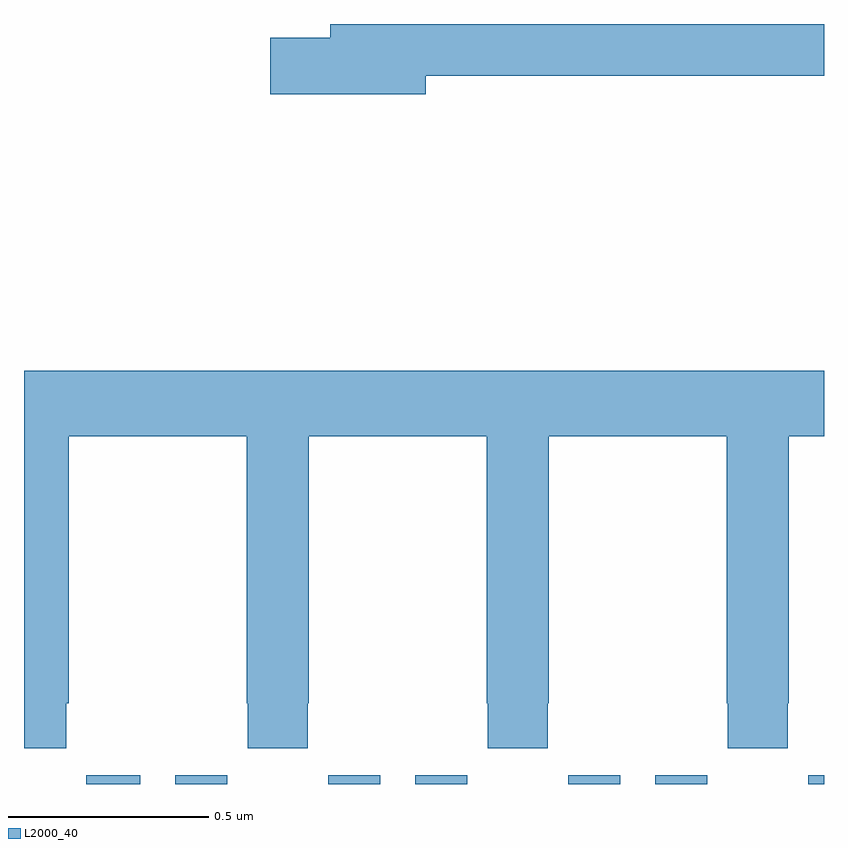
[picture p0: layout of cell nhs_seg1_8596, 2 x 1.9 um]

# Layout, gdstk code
import gdstk
lib = gdstk.Library(unit=1e-6, precision=1e-09)
def R(c, l, rs):  # rectangles x0, y0, x1, y1
    for r in rs: c.add(gdstk.rectangle(r[:2], r[2:], *l))
def P(c, l, *ps):  # polygons
    for p in ps: c.add(gdstk.Polygon(p, *l))
L2000_40 = (2000, 40)

nhs_seg1_8596 = lib.new_cell('nhs_seg1_8596')
R(nhs_seg1_8596, L2000_40, [(218.156,548.199,218.29,548.221), (218.378,548.199,218.508,548.221), (218.76,548.199,218.89,548.221), (218.978,548.199,219.108,548.221), (219.36,548.199,219.49,548.221), (219.578,548.199,219.708,548.221), (219.96,548.199,220,548.221)])
P(nhs_seg1_8596, L2000_40, [(219.004,549.97),(220,549.97),(220,550.099),(218.765,550.099),(218.765,550.065),(218.616,550.065),(218.616,549.923),(219.004,549.923)],
  [(218.105,548.401),(218.112,548.401),(218.112,549.068),(218.557,549.068),(218.557,548.401),(218.559,548.401),(218.559,548.289),(218.709,548.289),(218.709,548.401),(218.712,548.401),(218.712,549.068),(219.157,549.068),(219.157,548.401),(219.159,548.401),(219.159,548.289),(219.309,548.289),(219.309,548.401),(219.312,548.401),(219.312,549.068),(219.757,549.068),(219.757,548.401),(219.759,548.401),(219.759,548.289),(219.909,548.289),(219.909,548.401),(219.912,548.401),(219.912,549.068),(220,549.068),(220,549.232),(218,549.232),(218,548.289),(218.105,548.289)])

lib.write_gds('nhs_seg1_8596.gds')
